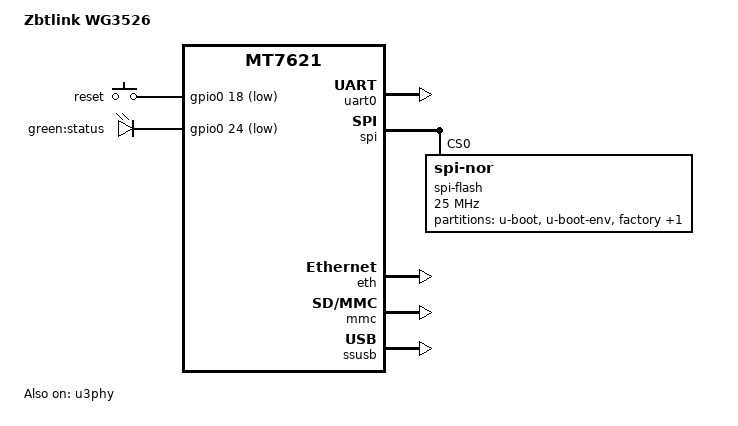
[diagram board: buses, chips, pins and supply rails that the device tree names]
// SPDX-License-Identifier: GPL-2.0
/*
 * Copyright (C) 2022 MediaTek Inc. All rights reserved.
 *
 * Author: Weijie Gao <weijie.gao@mediatek.com>
 */

/dts-v1/;

#include "mt7621.dtsi"
#include <dt-bindings/gpio/gpio.h>

/ {
	compatible = "zbtlink,zbt-wg3526", "mediatek,mt7621-rfb", "mediatek,mt7621-soc";
	model = "Zbtlink WG3526";

	aliases {
		ethernet0 = &eth;
		serial0 = &uart0;
		spi0 = &spi;
	};

	chosen {
		stdout-path = &uart0;
	};

	keys {
		compatible = "gpio-keys";

		reset {
			label = "reset";
			gpios = <&gpio0 18 GPIO_ACTIVE_LOW>;
		};
	};

	leds {
		compatible = "gpio-leds";

		led_status: status {
			label = "green:status";
			gpios = <&gpio0 24 GPIO_ACTIVE_LOW>;
		};
	};
};

&pinctrl {
	state_default: pin_state {
		gpios {
			groups = "i2c", "uart3", "pcie reset";
			function = "gpio";
		};

		wdt {
			groups = "wdt";
			function = "wdt rst";
		};

		jtag {
			groups = "jtag";
			function = "jtag";
		};
	};
};

&uart0 {
	status = "okay";
};

&gpio {
	status = "okay";
};

&spi {
	status = "okay";
	num-cs = <2>;

	spi-flash@0 {
		#address-cells = <1>;
		#size-cells = <1>;
		compatible = "jedec,spi-nor";
		spi-max-frequency = <25000000>;
		reg = <0>;


		partitions {
			compatible = "fixed-partitions";
			#address-cells = <1>;
			#size-cells = <1>;

			partition@0 {
				label = "u-boot";
				reg = <0x0 0x30000>;
			};

			partition@30000 {
				label = "u-boot-env";
				reg = <0x30000 0x10000>;
			};

			factory: partition@40000 {
				label = "factory";
				reg = <0x40000 0x10000>;
				read-only;
			};

			firmware: partition@50000 {
				compatible = "denx,uimage";
				label = "firmware";
				reg = <0x50000 0xfb0000>;
			};
		};
	};
};

&eth {
	status = "okay";
};

&mmc {
	cap-sd-highspeed;

	status = "okay";
};

&ssusb {
	status = "okay";
};

&u3phy {
	status = "okay";
};
